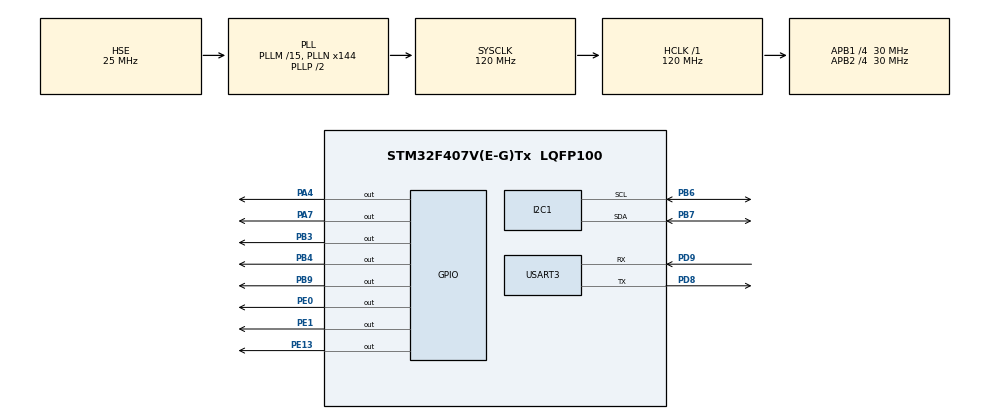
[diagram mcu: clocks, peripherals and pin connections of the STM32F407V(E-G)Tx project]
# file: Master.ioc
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FREERTOS.HEAP_NUMBER=3
FREERTOS.INCLUDE_uxTaskGetStackHighWaterMark=1
FREERTOS.INCLUDE_vTaskCleanUpResources=1
FREERTOS.INCLUDE_vTaskDelayUntil=1
FREERTOS.MEMORY_ALLOCATION=0
FREERTOS.Tasks01=defaultTask,0,128,StartDefaultTask,Default,NULL,Dynamic,NULL,NULL;myTask02,-3,128,StartTask02,Default,NULL,Dynamic,NULL,NULL;myTask03,-3,1024,StartTask03,Default,NULL,Dynamic,NULL,NULL;myTask04,-3,1024,TCPServer,Default,NULL,Dynamic,NULL,NULL
FREERTOS.configGENERATE_RUN_TIME_STATS=1
FREERTOS.configTOTAL_HEAP_SIZE=65536
FREERTOS.configUSE_APPLICATION_TASK_TAG=1
FREERTOS.configUSE_COUNTING_SEMAPHORES=1
FREERTOS.configUSE_STATS_FORMATTING_FUNCTIONS=1
FREERTOS.configUSE_TRACE_FACILITY=1
I2C1.I2C_Mode=I2C_Fast
IWDG.Prescaler=IWDG_PRESCALER_128
Mcu.Family=STM32F4
Mcu.Name=STM32F407V(E-G)Tx
Mcu.Package=LQFP100
NVIC.PriorityGroup=NVIC_PRIORITYGROUP_4
NVIC.TIM2_IRQn=true\:5\:0\:false\:false\:true\:true\:true\:true\:true
NVIC.TIM5_IRQn=true\:5\:0\:false\:false\:true\:true\:true\:true\:true
NVIC.TIM6_DAC_IRQn=true\:15\:0\:false\:false\:true\:false\:false\:true\:true
NVIC.TimeBase=TIM6_DAC_IRQn
NVIC.TimeBaseIP=TIM6
NVIC.USART3_IRQn=true\:5\:0\:false\:false\:true\:true\:true\:true\:true
PA13.Mode=Serial_Wire
PA13.Signal=SYS_JTMS-SWDIO
PA14.Mode=Serial_Wire
PA14.Signal=SYS_JTCK-SWCLK
PA4.Signal=GPIO_Output
PA7.Signal=GPIO_Output
PB3.GPIO_ModeDefaultOutputPP=GPIO_MODE_OUTPUT_PP
PB3.PinState=GPIO_PIN_SET
PB3.Signal=GPIO_Output
PB4.Signal=GPIO_Output
PB6.Mode=I2C
PB6.Signal=I2C1_SCL
PB7.Mode=I2C
PB7.Signal=I2C1_SDA
PB9.Signal=GPIO_Output
PD8.Mode=Asynchronous
PD8.Signal=USART3_TX
PD9.Mode=Asynchronous
PD9.Signal=USART3_RX
PE0.Signal=GPIO_Output
PE1.Signal=GPIO_Output
PE13.Signal=GPIO_Output
PH0-OSC_IN.Mode=HSE-External-Oscillator
PH0-OSC_IN.Signal=RCC_OSC_IN
PH1-OSC_OUT.Mode=HSE-External-Oscillator
PH1-OSC_OUT.Signal=RCC_OSC_OUT
ProjectManager.HeapSize=0x10200
ProjectManager.StackSize=0x400
ProjectManager.TargetToolchain=MDK-ARM V5.32
RCC.48MHZClocksFreq_Value=48000000
RCC.AHBFreq_Value=120000000
RCC.APB1CLKDivider=RCC_HCLK_DIV4
RCC.APB1Freq_Value=30000000
RCC.APB1TimFreq_Value=60000000
RCC.APB2CLKDivider=RCC_HCLK_DIV4
RCC.APB2Freq_Value=30000000
RCC.APB2TimFreq_Value=60000000
RCC.CortexFreq_Value=120000000
RCC.HCLKFreq_Value=120000000
RCC.HSE_VALUE=25000000
RCC.HSI_VALUE=16000000
RCC.LSE_VALUE=32768
RCC.PLLM=15
RCC.PLLN=144
RCC.PLLQ=5
RCC.PLLSourceVirtual=RCC_PLLSOURCE_HSE
RCC.SYSCLKFreq_VALUE=120000000
RCC.SYSCLKSource=RCC_SYSCLKSOURCE_PLLCLK
RCC.VCOOutputFreq_Value=240000000
TIM2.AutoReloadPreload=TIM_AUTORELOAD_PRELOAD_ENABLE
TIM2.Period=1000
TIM2.Prescaler=16
TIM5.Period=1000
TIM5.Prescaler=60
USART3.VirtualMode=VM_ASYNC
VP_FREERTOS_VS_CMSIS_V1.Mode=CMSIS_V1
VP_IWDG_VS_IWDG.Mode=IWDG_Activate
VP_RNG_VS_RNG.Mode=RNG_Activate
VP_SYS_VS_tim6.Mode=TIM6
VP_TIM2_VS_ClockSourceINT.Mode=Internal
VP_TIM5_VS_ClockSourceINT.Mode=Internal
board=custom

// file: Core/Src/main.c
/* USER CODE BEGIN Header */
/**
  ******************************************************************************
  * @file           : main.c
  * @brief          : Main program body
  ******************************************************************************
  * @attention
  *
  * Copyright (c) 2022 STMicroelectronics.
  * All rights reserved.
  *
  * This software is licensed under terms that can be found in the LICENSE file
  * in the root directory of this software component.
  * If no LICENSE file comes with this software, it is provided AS-IS.
  *
  ******************************************************************************
  */
/* USER CODE END Header */
#include "main.h"
#include "cmsis_os.h"

/* USER CODE BEGIN Includes */
#include "core/net.h"
#include "drivers/mac/stm32f4xx_eth_driver.h"
#include "drivers/phy/lan8742_driver.h"
#include "hardware/stm32f4xx/stm32f4xx_crypto.h"
#include "dhcp/dhcp_client.h"
#include "web_socket/web_socket.h"
#include "rng/trng.h"
#include "rng/yarrow.h"
#include "xBee.h"
#include "WeatherSensor.h"
#include "debug.h"
#include "ssd1306.h"
#include "ssd1306_tests.h"
#include "core/bsd_socket.h"
#include "TCP_protocol_Handle.h"
#include "STM32CustomBootloader.h"
/* USER CODE END Includes */

 I2C_HandleTypeDef hi2c1;

IWDG_HandleTypeDef hiwdg;

RNG_HandleTypeDef hrng;

TIM_HandleTypeDef htim2;
TIM_HandleTypeDef htim5;

UART_HandleTypeDef huart3;

osThreadId defaultTaskHandle;
osThreadId myTask02Handle;
osThreadId myTask03Handle;
osThreadId myTask04Handle;
/* USER CODE BEGIN PV */
//OsEvent appEvent;
//bool_t buttonEventFlag;

DhcpClientSettings dhcpClientSettings;
DhcpClientContext dhcpClientContext;
SlaacSettings slaacSettings;
SlaacContext slaacContext;
YarrowContext yarrowContext;
uint8_t seed[32];

uint8_t Websocket_TX[1024];
General_Buffer Websocket_TX_buffer;
extern Nodeweatherdata NodeSensordata[Maxnodesize];

/* USER CODE END PV */

void SystemClock_Config(void);
static void MX_GPIO_Init(void);
static void MX_RNG_Init(void);
static void MX_TIM2_Init(void);
static void MX_USART3_UART_Init(void);
static void MX_TIM5_Init(void);
static void MX_I2C1_Init(void);
static void MX_IWDG_Init(void);
void StartDefaultTask(void const * argument);
void StartTask02(void const * argument);
void StartTask03(void const * argument);
void TCPServer(void const * argument);

/* USER CODE BEGIN PFP */

/**
 * @brief Random data generation callback function
 * @param[out] data Buffer where to store the random data
 * @param[in] length Number of bytes that are required
 * @return Error code
 **/

error_t webSocketClientRngCallback(uint8_t *data, size_t length)
{
   error_t error;

   //Generate some random data
   error = yarrowRead(&yarrowContext, data, length);
   //Return status code
   return error;
}

/**
 * @brief TLS initialization callback
 * @param[in] webSocket Handle referencing a WebSocket
 * @param[in] tlsContext Pointer to the TLS context
 * @return Error code
 **/

error_t webSocketClientTlsInitCallback(WebSocket *webSocket,
   TlsContext *tlsContext)
{
   error_t error;

   //Debug message
   TRACE_INFO("WebSocket: TLS initialization callback\r\n");

   //Set the PRNG algorithm to be used
   error = tlsSetPrng(tlsContext, YARROW_PRNG_ALGO, &yarrowContext);
   //Any error to report?
   if(error)
      return error;

#if (APP_SET_CIPHER_SUITES == ENABLED)
   //Preferred cipher suite list
   error = tlsSetCipherSuites(tlsContext, cipherSuites, arraysize(cipherSuites));
   //Any error to report?
   if(error)
      return error;
#endif

#if (APP_SET_SERVER_NAME == ENABLED)
   //Set the fully qualified domain name of the server
   error = tlsSetServerName(tlsContext, APP_WS_SERVER_NAME);
   //Any error to report?
   if(error)
      return error;
#endif

#if (APP_SET_TRUSTED_CA_LIST == ENABLED)
   //Import the list of trusted CA certificates
   error = tlsSetTrustedCaList(tlsContext, trustedCaList, strlen(trustedCaList));
   //Any error to report?
   if(error)
      return error;
#endif

   //Successful processing
   return NO_ERROR;
}

/**
 * @brief WebSocket client test routine
 * @return Error code
 **/

error_t webSocketClient(void)
{
   error_t error;
   size_t length;
   systime_t timestamp;
   systime_t currentTime;
   WebSocket *webSocket;
   WebSocketFrameType type;
   IpAddr serverIpAddr;
   SocketEventDesc eventDesc[1];
   char_t buffer[256];
	 static unsigned int inc=0;

   //Debug message
   TRACE_INFO("\r\n\r\nWebSocket: Resolving server name...\r\n");

   //Resolve server name
   error = getHostByName(NULL, APP_WS_SERVER_NAME, &serverIpAddr, 0);

   //Any error to report?
   if(error)
   {
      //Debug message
      TRACE_INFO("WebSocket: Failed to resolve server name!\r\n");
      //Exit immediately
      return error;
   }

   //Open a new WebSocket
   webSocket = webSocketOpen();
   //Failed to open WebSocket?
   if(webSocket == NULL)
      return ERROR_OPEN_FAILED;

   //Start of exception handling block
   do
   {
      //Set timeout value for blocking operations
      error = webSocketSetTimeout(webSocket, 30000);
      //Any error to report?
      if(error)
         break;

      //Set the hostname of the remote server
      error = webSocketSetHost(webSocket, APP_WS_SERVER_NAME);
      //Any error to report?
      if(error)
         break;

#if (APP_WS_SERVER_PORT == 443)
      //Register TLS initialization callback
      error = webSocketRegisterTlsInitCallback(webSocket,
         webSocketClientTlsInitCallback);
      //Any error to report?
      if(error)
         return error;
#endif

      //Debug message
      TRACE_INFO("\r\nWebSocket: Connecting to server...\r\n");

      //Establish the WebSocket connection
      error = webSocketConnect(webSocket, &serverIpAddr,
         APP_WS_SERVER_PORT, APP_WS_SERVER_URI);
      //Any error to report?
      if(error)
         break;

      //Debug message
      TRACE_INFO("WebSocket: Connected to server\r\n");

      //Format message
      length = sprintf(buffer, "Start websocket task");

      //Debug message
      TRACE_INFO("WebSocket: Sending message (%" PRIuSIZE " bytes)...\r\n", length);
      TRACE_INFO("  %s\r\n", buffer);

      //Send data to the WebSocket server
      error = webSocketSend(webSocket, buffer, length,
         WS_FRAME_TYPE_BINARY, NULL);
      //Any error to report?
      if(error)
         break;

      //Save current time
      timestamp = osGetSystemTime();

      //Process events
      while(1)
      {
         //Set the events the application is interested in
         eventDesc[0].socket = webSocket->socket;
         eventDesc[0].eventMask = SOCKET_EVENT_RX_READY;

         //Check whether application data are pending in the receive buffer
         if(webSocketIsRxReady(webSocket))
         {
            //No need to poll the underlying socket for incoming traffic...
            eventDesc[0].eventFlags = SOCKET_EVENT_RX_READY;
            error = NO_ERROR;
         }
         else
         {
            //Wait for incoming traffic from the remote host. A non-infinite timeout is provided
            //to manage the idle timeout (60s). refer to the end of the loop
            error = socketPoll(eventDesc, arraysize(eventDesc), NULL, 1000);
         }

         //Check status code
         if(!error)
         {
            if(eventDesc[0].eventFlags & SOCKET_EVENT_RX_READY)
            {
               //Receive data from the remote WebSocket server
               error = webSocketReceive(webSocket, buffer,
                  sizeof(buffer) - 1, &type, &length);
               //Any error to report?
               if(error)
                  break;

               //Check the type of received data
               if(type == WS_FRAME_TYPE_TEXT ||
                  type == WS_FRAME_TYPE_BINARY)
               {
                  //Properly terminate the string with a NULL character
                  buffer[length] = '\0';

                  //Debug message
                  TRACE_INFO("WebSocket: Message received (%" PRIuSIZE " bytes)...\r\n", length);
                  TRACE_INFO("  %s\r\n", buffer);
               }
               else if(type == WS_FRAME_TYPE_PING)
               {
                  //Debug message
                  TRACE_INFO("WebSocket: Ping message received (%" PRIuSIZE " bytes)...\r\n", length);
                  //Debug message
                  TRACE_INFO("WebSocket: Sending pong message (%" PRIuSIZE " bytes)...\r\n", length);

                  //Send a Pong frame in response
                  error = webSocketSend(webSocket, buffer, length,
                     WS_FRAME_TYPE_PONG, NULL);
                  //Any error to report?
                  if(error)
                     break;
               }
               //Save current time
               timestamp = osGetSystemTime();
            }
         }

         //Check user button state
         //if(buttonEventFlag)
         {
            //Clear flag .
            //buttonEventFlag = FALSE;

            //Format event message
//            length = sprintf(buffer, "Test sent websocket %d",inc);
//					  inc++;

            //Debug message
            TRACE_INFO("WebSocket: Sending message (%" PRIuSIZE " bytes)...\r\n", length);
            TRACE_INFO("  %s\r\n", buffer);

//            //Send a message to the WebSocket server
//					 {
//							Websocket_TX_buffer.size = 0;
//						 	Websocket_TX_buffer.pdata[Websocket_TX_buffer.size] = '[';
//							Websocket_TX_buffer.size++;
//							for(int n = 0;n<3;n++)
//							{
//									for(int i = 0;i<NodeSensordata[n].size;i++)
//									{
//										Websocket_TX_buffer.pdata[Websocket_TX_buffer.size] = NodeSensordata[n].JSON[i];
//										Websocket_TX_buffer.size++;
//									}
//									if(n != 2){
//									Websocket_TX_buffer.pdata[Websocket_TX_buffer.size] = ',';
//									Websocket_TX_buffer.size++;
//									}
//							}
//							Websocket_TX_buffer.pdata[Websocket_TX_buffer.size] = ']';
//							Websocket_TX_buffer.size++;
//					 }
//            error = webSocketSend(webSocket,Websocket_TX_buffer.pdata, Websocket_TX_buffer.size,
//               WS_FRAME_TYPE_TEXT, NULL);
//            //Any error to report?
//            if(error)
//               break;

					static uint8_t runnumber = 0;
					if(NodeSensordata[runnumber].size != 0)
					{
            error = webSocketSend(webSocket,NodeSensordata[runnumber].JSON, NodeSensordata[runnumber].size,
               WS_FRAME_TYPE_TEXT, NULL);
						NodeSensordata[runnumber].size = 0;
            //Any error to report?
            if(error)
               break;
					}
					runnumber++;
					if(runnumber >= 3)runnumber=0;

            //Save current time
            timestamp = osGetSystemTime();
         }

         //Get current time
         currentTime = osGetSystemTime();

         //Manage idle timeout (if applicable)
         if(timeCompare(currentTime, timestamp + 60000) >= 0)
         {
            //Close WebSocket connection
            error = NO_ERROR;
            break;
         }
				  osDelayTask(100);
      }

      //Properly close the WebSocket connection
      webSocketShutdown(webSocket);

      //End of exception handling block
   } while(0);

   //Release the WebSocket
   webSocketClose(webSocket);

   //Return error code
   return error;
}

void TCPTestTask(void const * argument)
{
   error_t error;
   bool_t connectionState;
   uint_t buttonState;
   uint_t prevButtonState;
   IpAddr serverIpAddr;
	 Socket *socket;
	 uint8_t rec[220];
	 size_t sizerec=0;
		char strout[250];

		uint16_t res;
		char strbuffer[20];
		static uint32_t countting_cycle = 0;

	 TRACE_INFO("***Start TCP simple ***\r\n");

		error = ipStringToAddr("192.168.70.55", &serverIpAddr);
		//Failed to convert the string to a valid IP address?
		if(error) {
			TRACE_INFO("***ERROR IP ***\r\n");
		}

		//Create a connection-oriented socket
		socket = socketOpen(SOCKET_TYPE_STREAM, SOCKET_IP_PROTO_TCP);
		//Failed to create socket?
		if(!socket) {
		TRACE_INFO("***ERROR sock ***\r\n");
		}

		error = socketBindToInterface(socket, &netInterface[0]);
		if(!error) {
		TRACE_INFO("***ERROR bind ***\r\n");
		}
		//Establish a connection with the specified server
		error = socketConnect(socket, &serverIpAddr, 1001);
		//Check whether the connection succeeded
		if(error) {
			TRACE_INFO("***ERROR connect ***\r\n");
		}

//
//			char Nodename[] = "Node1";
//	float temperature=28.0,humd=50.0;

	while(1)
	{
			//Initiate a conversation with the mail server
			sprintf(strout,"Test speed RAW TCP countting cycle %d jakkapan kitkrong\r\n",countting_cycle);
			error = socketSend(socket,strout, strlen(strout), NULL, SOCKET_FLAG_NO_DELAY);
			countting_cycle++;
		  //error = tcpSend(socket,strout, strlen(strout), NULL, SOCKET_FLAG_NO_DELAY);
			//Any error to report?
			if(error) {
				TRACE_INFO("***ERROR sent***\r\n");
			}

			error = socketReceive(socket, rec, 150, &sizerec,SOCKET_FLAG_DONT_WAIT);
			if((error != ERROR_TIMEOUT) &&  (error != NO_ERROR)){
				TRACE_INFO("***ERROR rec***\r\n");
			}
			else
			{
				;
			}

			if(sizerec)
			{
				rec[sizerec] = 0;
				TRACE_INFO("***Data %s***\r\n",rec);
			}
//
//		  BSP_LED_On(LED2);
      osDelayTask(50);
			TRACE_INFO("**Task alive***\r\n");
//      BSP_LED_Off(LED2);
//      osDelayTask(50);
	}
}
/* USER CODE END PFP */

/* USER CODE BEGIN 0 */
char test[]="HEX=9313*4A";
uint32_t line;
/* USER CODE END 0 */

int main(void)
{
  /* USER CODE BEGIN 1 */
   error_t error;
   uint_t i;
   uint32_t value;
   OsTask *task;
   NetInterface *interface;
   MacAddr macAddr;
#if (APP_USE_DHCP_CLIENT == DISABLED)
   Ipv4Addr ipv4Addr;
#endif
#if (APP_USE_SLAAC == DISABLED)
   Ipv6Addr ipv6Addr;
#endif

  /* USER CODE END 1 */

  /* MCU Configuration--------------------------------------------------------*/

  /* Reset of all peripherals, Initializes the Flash interface and the Systick. */
  HAL_Init();

  /* Configure the system clock */
  SystemClock_Config();

  /* Initialize all configured peripherals */
  MX_GPIO_Init();
  MX_RNG_Init();
  MX_TIM2_Init();
  MX_USART3_UART_Init();
  MX_TIM5_Init();
  MX_I2C1_Init();
  //MX_IWDG_Init();
  /* USER CODE BEGIN 2 */

		ssd1306_Init();

   TRACE_INFO("\r\n");
   TRACE_INFO("****************************************\r\n");
   TRACE_INFO("* CycloneTCP Weather station TCPClient *\r\n");
   TRACE_INFO("****************************************\r\n");
   TRACE_INFO("Team : Mechatronics lab\r\n");
   TRACE_INFO("Compiled: %s %s\r\n", __DATE__, __TIME__);
   TRACE_INFO("Target: STM32F407V\r\n");
   TRACE_INFO("\r\n");

   //Initialize hardware cryptographic accelerator
   error = stm32f4xxCryptoInit();
   //Any error to report?
   if(error)
   {
      //Debug message
      TRACE_ERROR("Failed to initialize hardware crypto accelerator!\r\n");
   }

   //Generate a random seed
   error = trngGetRandomData(seed, sizeof(seed));
   //Any error to report?
   if(error)
   {
      //Debug message
      TRACE_ERROR("Failed to generate random data!\r\n");
   }

   //PRNG initialization
   error = yarrowInit(&yarrowContext);
   //Any error to report?
   if(error)
   {
      //Debug message
      TRACE_ERROR("Failed to initialize PRNG!\r\n");
   }

   //Properly seed the PRNG
   error = yarrowSeed(&yarrowContext, seed, sizeof(seed));
   //Any error to report?
   if(error)
   {
      //Debug message
      TRACE_ERROR("Failed to seed PRNG!\r\n");
   }

   //TCP/IP stack initialization
   error = netInit();
   //Any error to report?
   if(error)
   {
      //Debug message
      TRACE_ERROR("Failed to initialize TCP/IP stack!\r\n");
   }

   //Configure the first Ethernet interface
   interface = &netInterface[0];

   //Set interface name
   netSetInterfaceName(interface, APP_IF_NAME);
   //Set host name
   netSetHostname(interface, APP_HOST_NAME);
   //Set host MAC address
   macStringToAddr(APP_MAC_ADDR, &macAddr);
   netSetMacAddr(interface, &macAddr);
   //Select the relevant network adapter
   netSetDriver(interface, &stm32f4xxEthDriver);
   netSetPhyDriver(interface, &lan8742PhyDriver);

   //Initialize network interface
   error = netConfigInterface(interface);
   //Any error to report?
   if(error)
   {
      //Debug message
      TRACE_ERROR("Failed to configure interface %s!\r\n", interface->name);
   }

#if (IPV4_SUPPORT == ENABLED)
#if (APP_USE_DHCP_CLIENT == ENABLED)
   //Get default settings
   dhcpClientGetDefaultSettings(&dhcpClientSettings);
   //Set the network interface to be configured by DHCP
   dhcpClientSettings.interface = interface;
   //Disable rapid commit option
   dhcpClientSettings.rapidCommit = FALSE;

   //DHCP client initialization
   error = dhcpClientInit(&dhcpClientContext, &dhcpClientSettings);
   //Failed to initialize DHCP client?
   if(error)
   {
      //Debug message
      TRACE_ERROR("Failed to initialize DHCP client!\r\n");
   }

   //Start DHCP client
   error = dhcpClientStart(&dhcpClientContext);
   //Failed to start DHCP client?
   if(error)
   {
      //Debug message
      TRACE_ERROR("Failed to start DHCP client!\r\n");
   }
#else
   //Set IPv4 host address
   ipv4StringToAddr(APP_IPV4_HOST_ADDR, &ipv4Addr);
   ipv4SetHostAddr(interface, ipv4Addr);

   //Set subnet mask
   ipv4StringToAddr(APP_IPV4_SUBNET_MASK, &ipv4Addr);
   ipv4SetSubnetMask(interface, ipv4Addr);

   //Set default gateway
   ipv4StringToAddr(APP_IPV4_DEFAULT_GATEWAY, &ipv4Addr);
   ipv4SetDefaultGateway(interface, ipv4Addr);

   //Set primary and secondary DNS servers
   ipv4StringToAddr(APP_IPV4_PRIMARY_DNS, &ipv4Addr);
   ipv4SetDnsServer(interface, 0, ipv4Addr);
   ipv4StringToAddr(APP_IPV4_SECONDARY_DNS, &ipv4Addr);
   ipv4SetDnsServer(interface, 1, ipv4Addr);
#endif
#endif

	    //Register RNG callback
   webSocketRegisterRandCallback(webSocketClientRngCallback);

//   //Create an event object
//   if(!osCreateEvent(&appEvent))
//   {
//      //Debug message
//      TRACE_ERROR("Failed to create event!\r\n");
//   }

  /* USER CODE END 2 */

  /* Create the thread(s) */
  /* definition and creation of defaultTask */
  osThreadDef(defaultTask, StartDefaultTask, osPriorityNormal, 0, 128);
  defaultTaskHandle = osThreadCreate(osThread(defaultTask), NULL);

  /* definition and creation of myTask02 */
  osThreadDef(myTask02, StartTask02, osPriorityIdle, 0, 128);
  myTask02Handle = osThreadCreate(osThread(myTask02), NULL);

  /* definition and creation of myTask03 */
  osThreadDef(myTask03, StartTask03, osPriorityIdle, 0, 1024);
  myTask03Handle = osThreadCreate(osThread(myTask03), NULL);

  /* definition and creation of myTask04 */
  osThreadDef(myTask04, TCPServer, osPriorityIdle, 0, 2048);
  myTask04Handle = osThreadCreate(osThread(myTask04), NULL);

  /* Start scheduler */
  osKernelStart();

  /* We should never get here as control is now taken by the scheduler */
  /* Infinite loop */
  while (1)
  {

  }
}

void SystemClock_Config(void)
{
  RCC_OscInitTypeDef RCC_OscInitStruct = {0};
  RCC_ClkInitTypeDef RCC_ClkInitStruct = {0};

  /** Configure the main internal regulator output voltage
  */
  __HAL_RCC_PWR_CLK_ENABLE();
  __HAL_PWR_VOLTAGESCALING_CONFIG(PWR_REGULATOR_VOLTAGE_SCALE1);

  /** Initializes the RCC Oscillators according to the specified parameters
  * in the RCC_OscInitTypeDef structure.
  */
  RCC_OscInitStruct.OscillatorType = RCC_OSCILLATORTYPE_LSI|RCC_OSCILLATORTYPE_HSE;
  RCC_OscInitStruct.HSEState = RCC_HSE_ON;
  RCC_OscInitStruct.LSIState = RCC_LSI_ON;
  RCC_OscInitStruct.PLL.PLLState = RCC_PLL_ON;
  RCC_OscInitStruct.PLL.PLLSource = RCC_PLLSOURCE_HSE;
  RCC_OscInitStruct.PLL.PLLM = 15;
  RCC_OscInitStruct.PLL.PLLN = 144;
  RCC_OscInitStruct.PLL.PLLP = RCC_PLLP_DIV2;
  RCC_OscInitStruct.PLL.PLLQ = 5;
  if (HAL_RCC_OscConfig(&RCC_OscInitStruct) != HAL_OK)
  {
    Error_Handler();
  }

  /** Initializes the CPU, AHB and APB buses clocks
  */
  RCC_ClkInitStruct.ClockType = RCC_CLOCKTYPE_HCLK|RCC_CLOCKTYPE_SYSCLK
                              |RCC_CLOCKTYPE_PCLK1|RCC_CLOCKTYPE_PCLK2;
  RCC_ClkInitStruct.SYSCLKSource = RCC_SYSCLKSOURCE_PLLCLK;
  RCC_ClkInitStruct.AHBCLKDivider = RCC_SYSCLK_DIV1;
  RCC_ClkInitStruct.APB1CLKDivider = RCC_HCLK_DIV4;
  RCC_ClkInitStruct.APB2CLKDivider = RCC_HCLK_DIV4;

  if (HAL_RCC_ClockConfig(&RCC_ClkInitStruct, FLASH_LATENCY_3) != HAL_OK)
  {
    Error_Handler();
  }
}

static void MX_I2C1_Init(void)
{

  hi2c1.Instance = I2C1;
  hi2c1.Init.ClockSpeed = 400000;
  hi2c1.Init.DutyCycle = I2C_DUTYCYCLE_2;
  hi2c1.Init.OwnAddress1 = 0;
  hi2c1.Init.AddressingMode = I2C_ADDRESSINGMODE_7BIT;
  hi2c1.Init.DualAddressMode = I2C_DUALADDRESS_DISABLE;
  hi2c1.Init.OwnAddress2 = 0;
  hi2c1.Init.GeneralCallMode = I2C_GENERALCALL_DISABLE;
  hi2c1.Init.NoStretchMode = I2C_NOSTRETCH_DISABLE;
  if (HAL_I2C_Init(&hi2c1) != HAL_OK)
  {
    Error_Handler();
  }

}

static void MX_IWDG_Init(void)
{

  hiwdg.Instance = IWDG;
  hiwdg.Init.Prescaler = IWDG_PRESCALER_128;
  hiwdg.Init.Reload = 4095;
  if (HAL_IWDG_Init(&hiwdg) != HAL_OK)
  {
    Error_Handler();
  }

}

static void MX_RNG_Init(void)
{

  hrng.Instance = RNG;
  if (HAL_RNG_Init(&hrng) != HAL_OK)
  {
    Error_Handler();
  }

}

static void MX_TIM2_Init(void)
{

  TIM_ClockConfigTypeDef sClockSourceConfig = {0};
  TIM_MasterConfigTypeDef sMasterConfig = {0};

  htim2.Instance = TIM2;
  htim2.Init.Prescaler = 16;
  htim2.Init.CounterMode = TIM_COUNTERMODE_UP;
  htim2.Init.Period = 1000;
  htim2.Init.ClockDivision = TIM_CLOCKDIVISION_DIV1;
  htim2.Init.AutoReloadPreload = TIM_AUTORELOAD_PRELOAD_ENABLE;
  if (HAL_TIM_Base_Init(&htim2) != HAL_OK)
  {
    Error_Handler();
  }
  sClockSourceConfig.ClockSource = TIM_CLOCKSOURCE_INTERNAL;
  if (HAL_TIM_ConfigClockSource(&htim2, &sClockSourceConfig) != HAL_OK)
  {
    Error_Handler();
  }
  sMasterConfig.MasterOutputTrigger = TIM_TRGO_RESET;
  sMasterConfig.MasterSlaveMode = TIM_MASTERSLAVEMODE_DISABLE;
  if (HAL_TIMEx_MasterConfigSynchronization(&htim2, &sMasterConfig) != HAL_OK)
  {
    Error_Handler();
  }

}

static void MX_TIM5_Init(void)
{

  TIM_ClockConfigTypeDef sClockSourceConfig = {0};
  TIM_MasterConfigTypeDef sMasterConfig = {0};

  htim5.Instance = TIM5;
  htim5.Init.Prescaler = 60;
  htim5.Init.CounterMode = TIM_COUNTERMODE_UP;
  htim5.Init.Period = 1000;
  htim5.Init.ClockDivision = TIM_CLOCKDIVISION_DIV1;
  htim5.Init.AutoReloadPreload = TIM_AUTORELOAD_PRELOAD_DISABLE;
  if (HAL_TIM_Base_Init(&htim5) != HAL_OK)
  {
    Error_Handler();
  }
  sClockSourceConfig.ClockSource = TIM_CLOCKSOURCE_INTERNAL;
  if (HAL_TIM_ConfigClockSource(&htim5, &sClockSourceConfig) != HAL_OK)
  {
    Error_Handler();
  }
  sMasterConfig.MasterOutputTrigger = TIM_TRGO_RESET;
  sMasterConfig.MasterSlaveMode = TIM_MASTERSLAVEMODE_DISABLE;
  if (HAL_TIMEx_MasterConfigSynchronization(&htim5, &sMasterConfig) != HAL_OK)
  {
    Error_Handler();
  }

}

static void MX_USART3_UART_Init(void)
{

  huart3.Instance = USART3;
  huart3.Init.BaudRate = 115200;
  huart3.Init.WordLength = UART_WORDLENGTH_8B;
  huart3.Init.StopBits = UART_STOPBITS_1;
  huart3.Init.Parity = UART_PARITY_NONE;
  huart3.Init.Mode = UART_MODE_TX_RX;
  huart3.Init.HwFlowCtl = UART_HWCONTROL_NONE;
  huart3.Init.OverSampling = UART_OVERSAMPLING_16;
  if (HAL_UART_Init(&huart3) != HAL_OK)
  {
    Error_Handler();
  }

}

static void MX_GPIO_Init(void)
{
  GPIO_InitTypeDef GPIO_InitStruct = {0};

  /* GPIO Ports Clock Enable */
  __HAL_RCC_GPIOH_CLK_ENABLE();
  __HAL_RCC_GPIOA_CLK_ENABLE();
  __HAL_RCC_GPIOE_CLK_ENABLE();
  __HAL_RCC_GPIOD_CLK_ENABLE();
  __HAL_RCC_GPIOB_CLK_ENABLE();

  /*Configure GPIO pin Output Level */
  HAL_GPIO_WritePin(GPIOA, GPIO_PIN_4|GPIO_PIN_7, GPIO_PIN_RESET);

  /*Configure GPIO pin Output Level */
  HAL_GPIO_WritePin(GPIOE, GPIO_PIN_13|GPIO_PIN_0|GPIO_PIN_1, GPIO_PIN_RESET);

  /*Configure GPIO pin Output Level */
  HAL_GPIO_WritePin(GPIOB, GPIO_PIN_3, GPIO_PIN_SET);

  /*Configure GPIO pin Output Level */
  HAL_GPIO_WritePin(GPIOB, GPIO_PIN_4|GPIO_PIN_9, GPIO_PIN_RESET);

  /*Configure GPIO pins : PA4 PA7 */
  GPIO_InitStruct.Pin = GPIO_PIN_4|GPIO_PIN_7;
  GPIO_InitStruct.Mode = GPIO_MODE_OUTPUT_PP;
  GPIO_InitStruct.Pull = GPIO_NOPULL;
  GPIO_InitStruct.Speed = GPIO_SPEED_FREQ_LOW;
  HAL_GPIO_Init(GPIOA, &GPIO_InitStruct);

  /*Configure GPIO pins : PE13 PE0 PE1 */
  GPIO_InitStruct.Pin = GPIO_PIN_13|GPIO_PIN_0|GPIO_PIN_1;
  GPIO_InitStruct.Mode = GPIO_MODE_OUTPUT_PP;
  GPIO_InitStruct.Pull = GPIO_NOPULL;
  GPIO_InitStruct.Speed = GPIO_SPEED_FREQ_LOW;
  HAL_GPIO_Init(GPIOE, &GPIO_InitStruct);

  /*Configure GPIO pins : PB3 PB4 PB9 */
  GPIO_InitStruct.Pin = GPIO_PIN_3|GPIO_PIN_4|GPIO_PIN_9;
  GPIO_InitStruct.Mode = GPIO_MODE_OUTPUT_PP;
  GPIO_InitStruct.Pull = GPIO_NOPULL;
  GPIO_InitStruct.Speed = GPIO_SPEED_FREQ_LOW;
  HAL_GPIO_Init(GPIOB, &GPIO_InitStruct);

}

void StartDefaultTask(void const * argument)
{
  /* USER CODE BEGIN 5 */
  /* Infinite loop */
  for(;;)
  {
		//ssd1306_TestAll();
		MasternodeInfo();
    osDelay(1);
  }
  /* USER CODE END 5 */
}

void StartTask02(void const * argument)
{
  /* USER CODE BEGIN StartTask02 */
  /* Infinite loop */
	//osSetEvent(&appEvent);
	initxBee();

  HAL_TIM_Base_Start_IT(&htim5);
  for(;;)
  {
		xBeeFunction();
    osDelay(1);
  }
  /* USER CODE END StartTask02 */
}

void StartTask03(void const * argument)
{
  /* USER CODE BEGIN StartTask03 */

	Websocket_TX_buffer.pdata = Websocket_TX;
	Websocket_TX_buffer.size = 0;
	Initweather();
  /* Infinite loop */
  for(;;)
  {
		  //Wait for the user button to be pressed
      //osWaitForEvent(&appEvent, INFINITE_DELAY);

      //Clear flag
      //buttonEventFlag = FALSE;

      //WebSocket client test routine
      //webSocketClient();

		HAL_GPIO_TogglePin(GPIOB,GPIO_PIN_10);
    osDelay(1000);
  }
  /* USER CODE END StartTask03 */
}

void TCPServer(void const * argument)
{
  /* USER CODE BEGIN TCPServer */

	#define MaxComeinCMD 1024
	#define HexLoadStepsize 22 //line
	  TcpState state;
	  error_t error;
		Socket *socket;
	  Socket *csocket;
	  IpAddr localIP;
		IpAddr ClientIpAddr;
		uint16_t Port=0;
		uint8_t rec[1152];
	  size_t size_rec=0;
		char strout[256];
		static uint8_t Programmingstate = 0;

		uint32_t Totalhexline=0;
		uint32_t HexRequestStart =0;
		uint32_t HexRequestStop =0;

		//Create a connection-oriented socket
		socket = socketOpen(SOCKET_TYPE_STREAM, SOCKET_IP_PROTO_TCP);
		//Failed to create socket?
		if(!socket) {
		TRACE_INFO("***ERROR sock ***\r\n");
		}

		error = socketSetTimeout(socket,50);
		if(error) {
		TRACE_INFO("***ERROR set timeout ***\r\n");
		}

	  ipStringToAddr(APP_IPV4_HOST_ADDR, &localIP);
		error = socketBind(socket, &localIP, 80);
		if(error) {
		TRACE_INFO("***ERROR bind ***\r\n");
		}

		error = socketListen(socket,1);
		if(error) {
		TRACE_INFO("***ERROR Listen ***\r\n");
		}

  /* Infinite loop */
  for(;;)
  {
			switch(Programmingstate)
			{
				case 0x00://listenning
					csocket = socketAccept(socket,&ClientIpAddr,&Port);
					if(!csocket)
					{
						TRACE_INFO("***Error accepting connection***\r\n");
					}
					else
					{
						Programmingstate = 0x01;
					}
					break;

				case 0x01://tcpReceive

					error = socketReceive(csocket,rec, 1152,&size_rec,SOCKET_FLAG_DONT_WAIT);
					if(!error) {
					TRACE_INFO("***ERROR Listen ***\r\n");
					}

					if(size_rec != 0){

//						if(ForceDelete_APP2EEPROM((uint8_t*)rec,strlen((char*)rec),&Totalhexline) == true)
//						{
//							write_eeprom_0x08004000U_512(0x80,"EMPTY",5);
//							NVIC_SystemReset();// Go app by bootload() select app
//						}
						size_rec=0;
					}
					break;

				case 0x02:

					error = socketReceive(csocket,rec, 1152,&size_rec,SOCKET_FLAG_DONT_WAIT);
					if(!error) {
					TRACE_INFO("***ERROR Listen ***\r\n");
					}

					if(size_rec != 0)
					{
						if(program_verify_fanuc(rec,size_rec) == True)
						{
							HexIntelDecodeFlashProgramming(rec,size_rec);
							//update record
							HexRequestStart = HexRequestStop+1;
							HexRequestStop = HexRequestStart+HexLoadStepsize-1;
							if(HexRequestStop > Totalhexline) HexRequestStop = Totalhexline;
						}
					}
					break;

				default:
					break;
			}
			//monitor
			state = tcpGetState(csocket);
			if((state == TCP_STATE_CLOSE_WAIT) ||  (state == TCP_STATE_CLOSED) || state >= 11)
			{
				Programmingstate = 0;
				socketClose(csocket);
			}
			osDelayTask(1);
		HAL_IWDG_Refresh(&hiwdg);
  }
  /* USER CODE END TCPServer */
}

void HAL_TIM_PeriodElapsedCallback(TIM_HandleTypeDef *htim)
{
  if (htim->Instance == TIM6) {
    HAL_IncTick();
  }
}

void Error_Handler(void)
{
  __disable_irq();
  while (1)
  {
  }
}

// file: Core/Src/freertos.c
/* USER CODE BEGIN Header */
/**
  ******************************************************************************
  * File Name          : freertos.c
  * Description        : Code for freertos applications
  ******************************************************************************
  * @attention
  *
  * Copyright (c) 2022 STMicroelectronics.
  * All rights reserved.
  *
  * This software is licensed under terms that can be found in the LICENSE file
  * in the root directory of this software component.
  * If no LICENSE file comes with this software, it is provided AS-IS.
  *
  ******************************************************************************
  */
/* USER CODE END Header */

#include "FreeRTOS.h"
#include "task.h"
#include "main.h"

/* Hook prototypes */
void configureTimerForRunTimeStats(void);
unsigned long getRunTimeCounterValue(void);

/* USER CODE BEGIN 1 */
/* Functions needed when configGENERATE_RUN_TIME_STATS is on */
__weak void configureTimerForRunTimeStats(void)
{

}

__weak unsigned long getRunTimeCounterValue(void)
{
return 0;
}
/* USER CODE END 1 */
